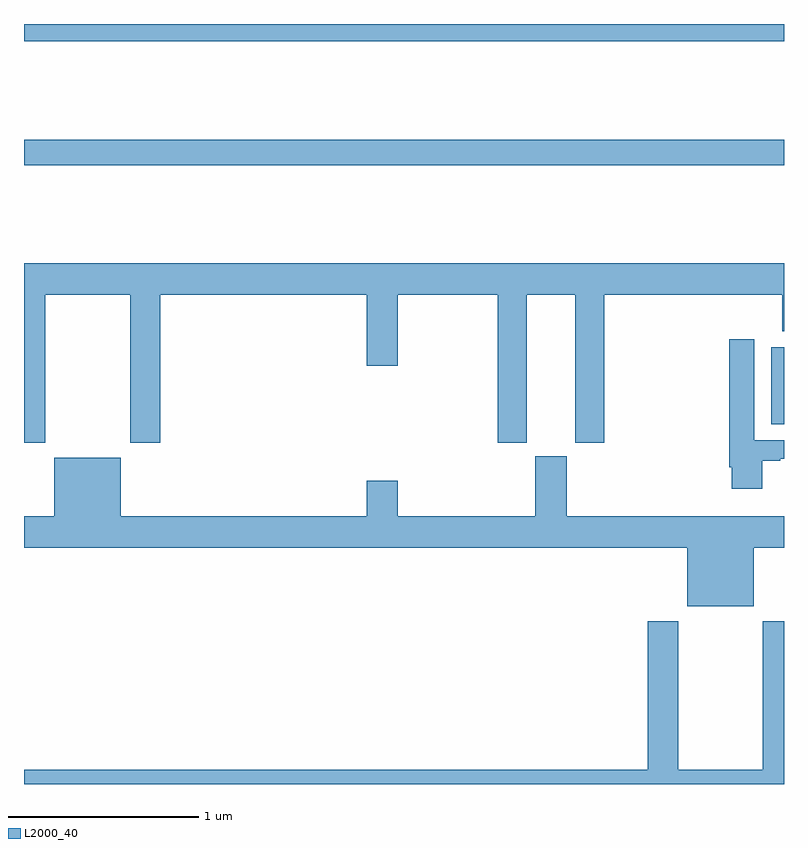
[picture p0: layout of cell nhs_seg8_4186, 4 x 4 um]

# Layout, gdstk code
import gdstk
lib = gdstk.Library(unit=1e-6, precision=1e-09)
def R(c, l, rs):  # rectangles x0, y0, x1, y1
    for r in rs: c.add(gdstk.rectangle(r[:2], r[2:], *l))
def P(c, l, *ps):  # polygons
    for p in ps: c.add(gdstk.Polygon(p, *l))
L2000_40 = (2000, 40)

nhs_seg8_4186 = lib.new_cell('nhs_seg8_4186')
R(nhs_seg8_4186, L2000_40, [(370.934,1139.794,371,1140.199), (367,1141.156,371,1141.292), (367,1141.808,371,1141.9)])
P(nhs_seg8_4186, L2000_40, [(367.113,1140.476),(367.558,1140.476),(367.558,1139.697),(367.718,1139.697),(367.718,1140.476),(368.804,1140.476),(368.804,1140.102),(368.968,1140.102),(368.968,1140.476),(369.494,1140.476),(369.494,1139.697),(369.646,1139.697),(369.646,1140.476),(369.902,1140.476),(369.902,1139.697),(370.055,1139.697),(370.055,1140.476),(370.991,1140.476),(370.991,1140.284),(371,1140.284),(371,1140.64),(367,1140.64),(367,1139.697),(367.113,1139.697)],
  [(370.885,1139.601),(370.981,1139.601),(370.981,1139.613),(371,1139.613),(371,1139.709),(370.843,1139.709),(370.843,1140.241),(370.712,1140.241),(370.712,1139.566),(370.724,1139.566),(370.724,1139.454),(370.885,1139.454)],
  [(370.84,1139.144),(371,1139.144),(371,1139.308),(369.856,1139.308),(369.856,1139.625),(369.692,1139.625),(369.692,1139.308),(368.968,1139.308),(368.968,1139.497),(368.804,1139.497),(368.804,1139.308),(367.51,1139.308),(367.51,1139.617),(367.16,1139.617),(367.16,1139.308),(367,1139.308),(367,1139.144),(370.49,1139.144),(370.49,1138.835),(370.84,1138.835)],
  [(371,1138.756),(370.888,1138.756),(370.888,1137.976),(370.443,1137.976),(370.443,1138.756),(370.283,1138.756),(370.283,1137.976),(367,1137.976),(367,1137.9),(371,1137.9)])

lib.write_gds('nhs_seg8_4186.gds')
